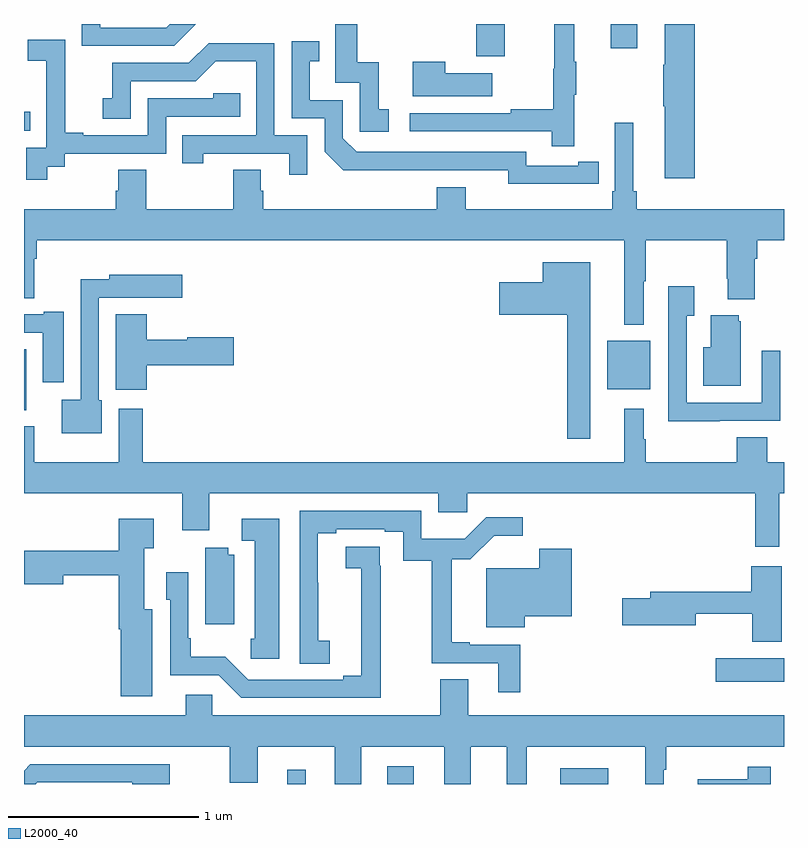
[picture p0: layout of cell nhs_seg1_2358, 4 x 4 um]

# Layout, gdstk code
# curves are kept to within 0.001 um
import gdstk
lib = gdstk.Library(unit=1e-6, precision=1e-09)
def R(c, l, rs):  # rectangles x0, y0, x1, y1
    for r in rs: c.add(gdstk.rectangle(r[:2], r[2:], *l))
def P(c, l, *ps):  # polygons
    for p in ps: c.add(gdstk.Polygon(p, *l))
L2000_40 = (2000, 40)

nhs_seg1_2358 = lib.new_cell('nhs_seg1_2358')
R(nhs_seg1_2358, L2000_40, [(240.386,554.199,240.484,554.275), (240.911,554.199,241.051,554.293), (241.823,554.199,242.074,554.281), (239,556.166,239.011,556.486), (242.069,556.277,242.296,556.531), (239,557.637,239.033,557.738), (241.379,558.03,241.531,558.199), (242.087,558.072,242.227,558.199)])
P(nhs_seg1_2358, L2000_40, [(242.531,558.199),(242.372,558.199),(242.372,557.984),(242.365,557.984),(242.365,557.767),(242.372,557.767),(242.372,557.388),(242.531,557.388)],
  [(241.895,557.827),(241.906,557.827),(241.906,558.001),(241.895,558.001),(241.895,558.199),(241.792,558.199),(241.792,557.964),(241.785,557.964),(241.785,557.75),(241.561,557.75),(241.561,557.73),(241.029,557.73),(241.029,557.634),(241.777,557.634),(241.777,557.556),(241.895,557.556)],
  [(239.905,558.199),(239.767,558.199),(239.748,558.18),(239.401,558.18),(239.401,558.199),(239.304,558.199),(239.304,558.084),(239.79,558.084)],
  [(240.919,557.751),(240.866,557.751),(240.866,557.998),(240.755,557.998),(240.755,558.199),(240.639,558.199),(240.639,557.889),(240.768,557.889),(240.768,557.631),(240.919,557.631)],
  [(239.122,557.449),(239.214,557.449),(239.214,557.517),(239.748,557.517),(239.748,557.712),(240.137,557.712),(240.137,557.835),(239.997,557.835),(239.997,557.808),(239.652,557.808),(239.652,557.613),(239.311,557.613),(239.311,557.626),(239.216,557.626),(239.216,557.909),(239.217,557.909),(239.217,558.115),(239.019,558.115),(239.019,558.005),(239.117,558.005),(239.117,557.777),(239.118,557.777),(239.118,557.547),(239.013,557.547),(239.013,557.379),(239.122,557.379)],
  [(241.916,557.358),(242.024,557.358),(242.024,557.474),(241.916,557.474),(241.916,557.454),(241.644,557.454),(241.644,557.526),(240.75,557.526),(240.678,557.598),(240.678,557.799),(240.505,557.799),(240.505,558.003),(240.554,558.003),(240.554,558.109),(240.408,558.109),(240.408,557.703),(240.582,557.703),(240.582,557.526),(240.68,557.429),(241.548,557.43),(241.548,557.357)],
  [(240.492,557.613),(240.318,557.613),(240.318,558.099),(239.972,558.099),(239.867,557.994),(239.464,557.994),(239.464,557.809),(239.415,557.809),(239.415,557.7),(239.562,557.7),(239.562,557.898),(239.904,557.898),(240.008,558.002),(240.222,558.002),(240.222,557.613),(239.833,557.613),(239.833,557.466),(239.944,557.466),(239.944,557.517),(240.395,557.517),(240.395,557.406),(240.492,557.406)],
  [(241.465,557.941),(241.217,557.941),(241.217,558.001),(241.046,558.001),(241.046,557.819),(241.465,557.819)],
  [(242.263,556.844),(242.273,556.844),(242.273,557.06),(242.698,557.06),(242.698,556.858),(242.705,556.858),(242.705,556.751),(242.845,556.751),(242.845,556.964),(242.858,556.964),(242.858,557.06),(243,557.06),(243,557.224),(242.225,557.224),(242.225,557.32),(242.206,557.32),(242.206,557.68),(242.109,557.68),(242.109,557.32),(242.096,557.32),(242.096,557.224),(241.324,557.224),(241.324,557.341),(241.172,557.341),(241.172,557.224),(240.26,557.224),(240.26,557.322),(240.247,557.322),(240.247,557.432),(240.1,557.432),(240.1,557.224),(239.643,557.224),(239.643,557.432),(239.495,557.432),(239.495,557.322),(239.483,557.322),(239.483,557.224),(239,557.224),(239,556.756),(239.053,556.756),(239.053,556.964),(239.066,556.964),(239.066,557.06),(242.159,557.06),(242.159,556.616),(242.263,556.616)],
  [(241.981,556.945),(241.73,556.945),(241.73,556.84),(241.5,556.84),(241.5,556.67),(241.86,556.67),(241.86,556.017),(241.981,556.017)],
  [(239.41,556.218),(239.394,556.218),(239.394,556.758),(239.606,556.758),(239.606,556.757),(239.833,556.757),(239.833,556.879),(239.448,556.879),(239.448,556.856),(239.298,556.856),(239.298,556.222),(239.198,556.222),(239.198,556.046),(239.41,556.046)],
  [(242.663,556.11),(242.979,556.11),(242.979,556.48),(242.883,556.48),(242.883,556.206),(242.487,556.206),(242.487,556.663),(242.527,556.663),(242.527,556.819),(242.391,556.819),(242.391,556.109),(242.663,556.109)],
  [(239.209,556.684),(239.105,556.684),(239.105,556.671),(239,556.671),(239,556.575),(239.099,556.575),(239.099,556.314),(239.209,556.314)],
  [(239.645,556.403),(240.103,556.403),(240.103,556.55),(239.859,556.55),(239.859,556.537),(239.645,556.537),(239.645,556.672),(239.483,556.672),(239.483,556.275),(239.645,556.275)],
  [(242.773,556.635),(242.762,556.635),(242.762,556.666),(242.615,556.666),(242.615,556.498),(242.576,556.498),(242.576,556.295),(242.773,556.295)],
  [(242.974,555.728),(243,555.728),(243,555.892),(242.912,555.892),(242.912,556.025),(242.752,556.025),(242.752,555.892),(242.273,555.892),(242.273,556.013),(242.263,556.013),(242.263,556.174),(242.159,556.174),(242.159,555.892),(239.624,555.892),(239.624,556.174),(239.498,556.174),(239.498,555.892),(239.053,555.892),(239.053,556.081),(239,556.081),(239,555.728),(239.834,555.728),(239.834,555.534),(239.974,555.534),(239.974,555.728),(241.181,555.728),(241.181,555.63),(241.333,555.63),(241.333,555.728),(242.849,555.728),(242.849,555.447),(242.974,555.447)],
  [(241.613,554.931),(241.345,554.931),(241.345,554.944),(241.25,554.944),(241.25,555.381),(241.349,555.381),(241.475,555.506),(241.624,555.506),(241.624,555.603),(241.434,555.603),(241.321,555.49),(241.092,555.49),(241.092,555.636),(240.45,555.636),(240.45,554.833),(240.61,554.833),(240.61,554.953),(240.549,554.953),(240.549,555.257),(240.547,555.257),(240.547,555.52),(240.643,555.52),(240.643,555.54),(240.899,555.54),(240.899,555.526),(240.996,555.526),(240.996,555.373),(241.147,555.373),(241.147,554.835),(241.496,554.835),(241.496,554.682),(241.613,554.682)],
  [(239.674,555.118),(239.632,555.118),(239.632,555.439),(239.683,555.439),(239.683,555.595),(239.498,555.595),(239.498,555.427),(239,555.427),(239,555.251),(239.206,555.251),(239.206,555.298),(239.498,555.298),(239.498,555.014),(239.51,555.014),(239.51,554.661),(239.674,554.661)],
  [(240.343,555.595),(240.147,555.595),(240.147,555.48),(240.215,555.48),(240.215,554.964),(240.193,554.964),(240.193,554.859),(240.343,554.859)],
  [(240.878,555.347),(240.872,555.347),(240.872,555.449),(240.693,555.449),(240.693,555.334),(240.775,555.334),(240.776,554.768),(240.68,554.768),(240.68,554.748),(240.18,554.748),(240.059,554.869),(239.878,554.869),(239.878,554.965),(239.865,554.965),(239.865,555.313),(239.748,555.313),(239.748,555.168),(239.769,555.168),(239.769,554.772),(240.024,554.772),(240.144,554.652),(240.878,554.652)],
  [(240.106,555.406),(240.074,555.406),(240.074,555.443),(239.954,555.443),(239.954,555.039),(240.106,555.039)],
  [(241.636,555.083),(241.883,555.083),(241.883,555.436),(241.712,555.436),(241.712,555.334),(241.433,555.334),(241.433,555.023),(241.636,555.023)],
  [(242.989,555.346),(242.828,555.346),(242.828,555.212),(242.297,555.212),(242.297,555.176),(242.148,555.176),(242.148,555.034),(242.536,555.034),(242.536,555.094),(242.833,555.094),(242.833,554.947),(242.989,554.947)],
  [(243,554.862),(242.862,554.862),(242.862,554.86),(242.64,554.86),(242.64,554.738),(243,554.738)],
  [(241.192,554.75),(241.192,554.56),(239.991,554.56),(239.991,554.67),(239.852,554.67),(239.852,554.56),(239,554.56),(239,554.396),(240.082,554.396),(240.082,554.206),(240.229,554.206),(240.229,554.396),(240.635,554.396),(240.635,554.199),(240.775,554.199),(240.775,554.396),(241.211,554.396),(241.211,554.199),(241.351,554.199),(241.351,554.396),(241.541,554.396),(241.541,554.199),(241.645,554.199),(241.645,554.396),(242.27,554.396),(242.27,554.199),(242.368,554.199),(242.368,554.273),(242.38,554.273),(242.38,554.396),(243,554.396),(243,554.56),(241.339,554.56),(241.339,554.75)],
  [(239.07,554.208),(239.57,554.208),(239.57,554.199),(239.768,554.199),(239.768,554.304),(239.034,554.304),(239,554.27),(239,554.199),(239.061,554.199)],
  [(242.929,554.29),(242.808,554.29),(242.808,554.224),(242.546,554.224),(242.546,554.199),(242.929,554.199)])

lib.write_gds('nhs_seg1_2358.gds')
